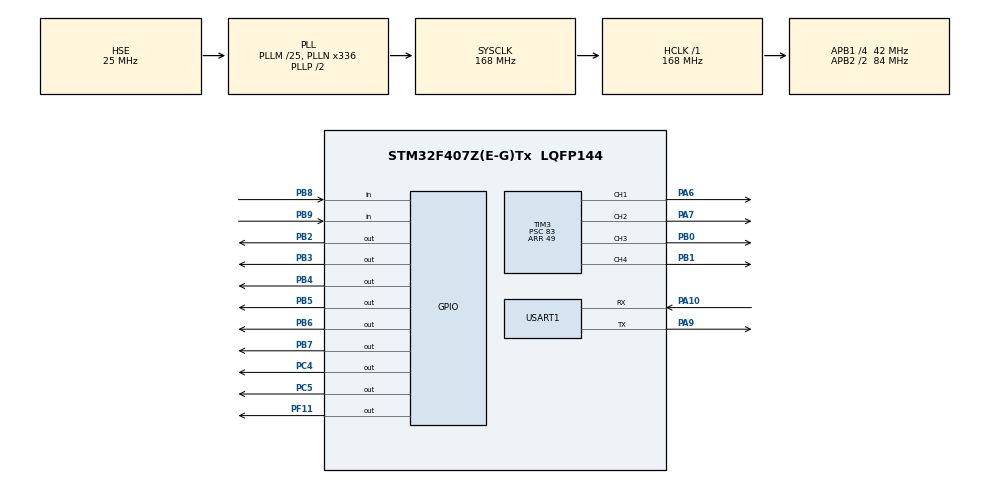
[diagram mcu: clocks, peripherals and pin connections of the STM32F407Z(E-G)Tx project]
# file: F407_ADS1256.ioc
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Mcu.Family=STM32F4
Mcu.Name=STM32F407Z(E-G)Tx
Mcu.Package=LQFP144
NVIC.PriorityGroup=NVIC_PRIORITYGROUP_4
NVIC.TIM8_TRG_COM_TIM14_IRQn=true\:15\:0\:false\:false\:true\:false\:true\:true
NVIC.TimeBase=TIM8_TRG_COM_TIM14_IRQn
NVIC.TimeBaseIP=TIM14
PA10.Mode=Asynchronous
PA10.Signal=USART1_RX
PA13.Mode=Serial_Wire
PA13.Signal=SYS_JTMS-SWDIO
PA14.Mode=Serial_Wire
PA14.Signal=SYS_JTCK-SWCLK
PA6.Signal=S_TIM3_CH1
PA7.Signal=S_TIM3_CH2
PA9.Mode=Asynchronous
PA9.Signal=USART1_TX
PB0.Signal=S_TIM3_CH3
PB1.Signal=S_TIM3_CH4
PB2.Signal=GPIO_Output
PB3.Signal=GPIO_Output
PB4.Signal=GPIO_Output
PB5.Signal=GPIO_Output
PB6.Signal=GPIO_Output
PB7.Signal=GPIO_Output
PB8.Signal=GPIO_Input
PB9.Signal=GPIO_Input
PC4.Signal=GPIO_Output
PC5.Signal=GPIO_Output
PF11.Signal=GPIO_Output
PH0-OSC_IN.Mode=HSE-External-Oscillator
PH0-OSC_IN.Signal=RCC_OSC_IN
PH1-OSC_OUT.Mode=HSE-External-Oscillator
PH1-OSC_OUT.Signal=RCC_OSC_OUT
ProjectManager.HeapSize=0x200
ProjectManager.StackSize=0x400
ProjectManager.TargetToolchain=MDK-ARM V5.32
RCC.48MHZClocksFreq_Value=84000000
RCC.AHBFreq_Value=168000000
RCC.APB1CLKDivider=RCC_HCLK_DIV4
RCC.APB1Freq_Value=42000000
RCC.APB1TimFreq_Value=84000000
RCC.APB2CLKDivider=RCC_HCLK_DIV2
RCC.APB2Freq_Value=84000000
RCC.APB2TimFreq_Value=168000000
RCC.CortexFreq_Value=168000000
RCC.HCLKFreq_Value=168000000
RCC.HSE_VALUE=25000000
RCC.HSI_VALUE=16000000
RCC.LSE_VALUE=32768
RCC.PLLM=25
RCC.PLLN=336
RCC.PLLSourceVirtual=RCC_PLLSOURCE_HSE
RCC.SYSCLKFreq_VALUE=168000000
RCC.SYSCLKSource=RCC_SYSCLKSOURCE_PLLCLK
RCC.VCOOutputFreq_Value=336000000
SH.S_TIM3_CH1.0=TIM3_CH1,PWM Generation1 CH1
SH.S_TIM3_CH2.0=TIM3_CH2,PWM Generation2 CH2
SH.S_TIM3_CH3.0=TIM3_CH3,PWM Generation3 CH3
SH.S_TIM3_CH4.0=TIM3_CH4,PWM Generation4 CH4
TIM3.Channel-PWM\ Generation1\ CH1=TIM_CHANNEL_1
TIM3.Channel-PWM\ Generation2\ CH2=TIM_CHANNEL_2
TIM3.Channel-PWM\ Generation3\ CH3=TIM_CHANNEL_3
TIM3.Channel-PWM\ Generation4\ CH4=TIM_CHANNEL_4
TIM3.Period=49
TIM3.Prescaler=83
USART1.VirtualMode=VM_ASYNC
VP_SYS_VS_tim14.Mode=TIM14
VP_TIM3_VS_ClockSourceINT.Mode=Internal
board=custom

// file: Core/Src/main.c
/* USER CODE BEGIN Header */
/**
  ******************************************************************************
  * @file           : main.c
  * @brief          : Main program body
  ******************************************************************************
  * @attention
  *
  * Copyright (c) 2025 STMicroelectronics.
  * All rights reserved.
  *
  * This software is licensed under terms that can be found in the LICENSE file
  * in the root directory of this software component.
  * If no LICENSE file comes with this software, it is provided AS-IS.
  *
  ******************************************************************************
  */
/* USER CODE END Header */
#include "main.h"
#include "tim.h"
#include "usart.h"
#include "gpio.h"

/* USER CODE BEGIN Includes */
#include "ads1256.h"
#include "stdio.h"
#include "delay.h"
#include "fuzzyPID.h"
/* USER CODE END Includes */

/* USER CODE BEGIN PD */
#define DOF 6
/* USER CODE END PD */

void SystemClock_Config(void);

/* USER CODE BEGIN 0 */
int fputc(int ch, FILE *f)
{
  uint8_t temp[1] = {ch};
  HAL_UART_Transmit(&huart1, temp, 1, 2);
  return ch;
}
/* USER CODE END 0 */

int main(void)
{

  /* USER CODE BEGIN 1 */
  float temp[8], R[8], V[8];
  /* USER CODE END 1 */

  /* MCU Configuration--------------------------------------------------------*/

  /* Reset of all peripherals, Initializes the Flash interface and the Systick. */
  HAL_Init();

  /* Configure the system clock */
  SystemClock_Config();

  /* USER CODE BEGIN SysInit */
  ADS1256_GPIO_Init();												//ads1256引脚初始�??
	// delay_ms (500);
	ADS1256_CfgADC(PGA_1, DATARATE_100);	// 配置ADC参数�?? 增益1:1, 数据输出速率 15Hz
  /* USER CODE END SysInit */

  /* Initialize all configured peripherals */
  // MX_GPIO_Init();
  MX_USART1_UART_Init();
  MX_TIM3_Init();
  /* USER CODE BEGIN 2 */
  HAL_TIM_PWM_Start(&htim3, TIM_CHANNEL_1);
  HAL_TIM_PWM_Start(&htim3, TIM_CHANNEL_2);
  HAL_TIM_PWM_Start(&htim3, TIM_CHANNEL_3);
  HAL_TIM_PWM_Start(&htim3, TIM_CHANNEL_4);

  HAL_GPIO_WritePin(GPIOC, GPIO_PIN_4, GPIO_PIN_SET);
  HAL_GPIO_WritePin(GPIOC, GPIO_PIN_5, GPIO_PIN_RESET);

  HAL_GPIO_WritePin(GPIOB, GPIO_PIN_2, GPIO_PIN_SET);
  HAL_GPIO_WritePin(GPIOF, GPIO_PIN_11, GPIO_PIN_RESET);

  // Default fuzzy rule base of delta kp/ki/kd
  int rule_base[][qf_default] = {
          //delta kp rule base
          {PB, PB, PM, PM, PS, ZO, ZO},
          {PB, PB, PM, PS, PS, ZO, NS},
          {PM, PM, PM, PS, ZO, NS, NS},
          {PM, PM, PS, ZO, NS, NM, NM},
          {PS, PS, ZO, NS, NS, NM, NM},
          {PS, ZO, NS, NM, NM, NM, NB},
          {ZO, ZO, NM, NM, NM, NB, NB},
          //delta ki rule base
          {NB, NB, NM, NM, NS, ZO, ZO},
          {NB, NB, NM, NS, NS, ZO, ZO},
          {NB, NM, NS, NS, ZO, PS, PS},
          {NM, NM, NS, ZO, PS, PM, PM},
          {NM, NS, ZO, PS, PS, PM, PB},
          {ZO, ZO, PS, PS, PM, PB, PB},
          {ZO, ZO, PS, PM, PM, PB, PB},
          //delta kd rule base
          {PS, NS, NB, NB, NB, NM, PS},
          {PS, NS, NB, NM, NM, NS, ZO},
          {ZO, NS, NM, NM, NS, NS, ZO},
          {ZO, NS, NS, NS, NS, NS, ZO},
          {ZO, ZO, ZO, ZO, ZO, ZO, ZO},
          {PB, PS, PS, PS, PS, PS, PB},
          {PB, PM, PM, PM, PS, PS, PB}};
  // Default parameters of membership function
  int mf_params[4 * qf_default] = {-8, -8, -4,  0,
                                   -8, -4, -1,  0,
                                   -4, -1,  0,  0,
                                   -1,  0,  1,  0,
                                    0,  1,  4,  0,
                                    1,  4,  8,  0,
                                    4,  8,  8,  0};
  // Default parameters of pid controller
  float fuzzy_pid_params[DOF][pid_params_count] = {{20.4f,   0,     0,    5,     0.1f, 0, 1},//kp, ki, kd, integral_limit, dead_zone, feed_forward,
                                                   {4.0f,   0,     0,    5,     0.1f, 0, 1},
                                                   {1.1f,   0,     0,    0,     0,    0, 1},
                                                   {2.4f,   0,     0,    0,     0,    0, 1},
                                                   {1.2f,   0,     0,    0,     0,    0, 1},
                                                   {1.2f,   0,     0,    0,     0,    0, 1}};
  float pid_params[DOF][pid_params_count] = {{10.2f,   0,     0,    5,     0.1f, 0, 1}};
  // Obtain the PID controller vector according to the parameters
  struct PID **fuzzy_pid_vector = fuzzy_pid_vector_init(
                    fuzzy_pid_params,
                    1.0f,
                    4,
                    1,
                    0,
                    mf_params,
                    rule_base,
                    DOF
                    );//delta_kPID参数的调整幅度比例, mf_type隶属度函数类型, fo_type模糊化方法, df_type解模糊化方法

  struct PID **fan_pid_vector = pid_vector_init(
                    pid_params,
                    DOF
                    );

  printf("output:\n");
  // int control_id = 5;
  int control_fan = 0, control_teg = 1, fan_out, teg_out;
  // float real = 0.0;
  float idea_temp_cold = 15.0f, idea_temp_hot = idea_temp_cold*1.2f;
  printf("cold_idea_value: %f, hot_idea_value: %f\n\r", idea_temp_cold, idea_temp_hot);
  bool direct[DOF] = {false, false, true, true, true, true};
  /* USER CODE END 2 */

  /* Infinite loop */
  while (1)
  {

    /* USER CODE BEGIN 3 */
    // float err = idea - real;
    // int out = fuzzy_pid_motor_pwd_output(real, idea, direct[control_id], pid_vector[control_id]);
    // real += (float) (out - middle_pwm_output) / (float) middle_pwm_output * (float) max_error * 0.1f;
    // printf("idea:%f,out:%d,real:%f,err:%f\n", idea, out, real, err);

    for(int i=0;i<8;i++)
    {
      // V[i] = ADS1256_GetVolt(i, 0);
      // printf("Voltage%d: %4.3fV\r\n",i, V[i]);
      // R[i] = Get_Rntc(i, 10);
      // printf("Rntc%d: %4.3fO\r\n",i, R[i]);
      temp[i] = GetAccuraryTemperature(Get_Rntc(i, 10));
		  // printf("Temperature%d: %4.5fC\r\n",i, temp[i]);
      // printf("\r\n");
      delay_ms(200);
    }
        teg_out = fuzzy_pid_motor_pwd_output(temp[0], idea_temp_cold, direct[control_teg], fuzzy_pid_vector[control_teg]);
        fan_out = pid_motor_pwd_output(temp[1], idea_temp_hot, direct[control_fan], fan_pid_vector[control_fan]);

        printf("fanOutput:%d,Real:%f\n\r", (int)(fan_out), temp[1]);
        printf("tegOutput:%d,Real:%f\n\r", (int)(teg_out), temp[0]);

    // delete_pid_vector(pid_vector, DOF);

    __HAL_TIM_SetCompare(&htim3,TIM_CHANNEL_1, fan_out);//min:14  max:50
    __HAL_TIM_SetCompare(&htim3,TIM_CHANNEL_2, teg_out);//
    // __HAL_TIM_SetCompare(&htim3,TIM_CHANNEL_3, 40);//
    // __HAL_TIM_SetCompare(&htim3,TIM_CHANNEL_4, 40);//

		// delay_ms(500);
  }
  /* USER CODE END 3 */
}

void SystemClock_Config(void)
{
  RCC_OscInitTypeDef RCC_OscInitStruct = {0};
  RCC_ClkInitTypeDef RCC_ClkInitStruct = {0};

  /** Configure the main internal regulator output voltage
  */
  __HAL_RCC_PWR_CLK_ENABLE();
  __HAL_PWR_VOLTAGESCALING_CONFIG(PWR_REGULATOR_VOLTAGE_SCALE1);

  /** Initializes the RCC Oscillators according to the specified parameters
  * in the RCC_OscInitTypeDef structure.
  */
  RCC_OscInitStruct.OscillatorType = RCC_OSCILLATORTYPE_HSE;
  RCC_OscInitStruct.HSEState = RCC_HSE_ON;
  RCC_OscInitStruct.PLL.PLLState = RCC_PLL_ON;
  RCC_OscInitStruct.PLL.PLLSource = RCC_PLLSOURCE_HSE;
  RCC_OscInitStruct.PLL.PLLM = 25;
  RCC_OscInitStruct.PLL.PLLN = 336;
  RCC_OscInitStruct.PLL.PLLP = RCC_PLLP_DIV2;
  RCC_OscInitStruct.PLL.PLLQ = 4;
  if (HAL_RCC_OscConfig(&RCC_OscInitStruct) != HAL_OK)
  {
    Error_Handler();
  }

  /** Initializes the CPU, AHB and APB buses clocks
  */
  RCC_ClkInitStruct.ClockType = RCC_CLOCKTYPE_HCLK|RCC_CLOCKTYPE_SYSCLK
                              |RCC_CLOCKTYPE_PCLK1|RCC_CLOCKTYPE_PCLK2;
  RCC_ClkInitStruct.SYSCLKSource = RCC_SYSCLKSOURCE_PLLCLK;
  RCC_ClkInitStruct.AHBCLKDivider = RCC_SYSCLK_DIV1;
  RCC_ClkInitStruct.APB1CLKDivider = RCC_HCLK_DIV4;
  RCC_ClkInitStruct.APB2CLKDivider = RCC_HCLK_DIV2;

  if (HAL_RCC_ClockConfig(&RCC_ClkInitStruct, FLASH_LATENCY_5) != HAL_OK)
  {
    Error_Handler();
  }
}

void HAL_TIM_PeriodElapsedCallback(TIM_HandleTypeDef *htim)
{
  if (htim->Instance == TIM14) {
    HAL_IncTick();
  }
}

void Error_Handler(void)
{
  __disable_irq();
  while (1)
  {
  }
}
